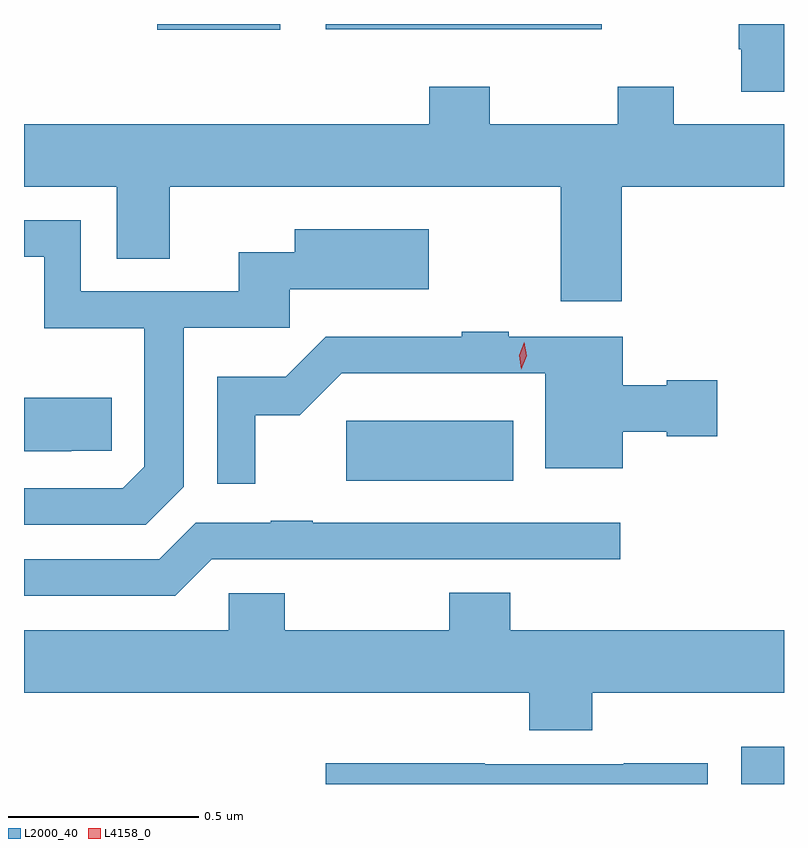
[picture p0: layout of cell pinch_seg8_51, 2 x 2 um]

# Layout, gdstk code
import gdstk
lib = gdstk.Library(unit=1e-6, precision=1e-09)
def R(c, l, rs):  # rectangles x0, y0, x1, y1
    for r in rs: c.add(gdstk.rectangle(r[:2], r[2:], *l))
def P(c, l, *ps):  # polygons
    for p in ps: c.add(gdstk.Polygon(p, *l))
L2000_40 = (2000, 40)
L4158_0 = (4158, 0)

pinch_seg8_51 = lib.new_cell('pinch_seg8_51')
R(pinch_seg8_51, L2000_40, [(871.313,1136.24,871.425,1136.338), (870.273,1137.038,870.712,1137.196), (869.775,1138.225,870.099,1138.24), (870.219,1138.226,870.946,1138.24)])
P(pinch_seg8_51, L2000_40, [(871.425,1138.24),(871.306,1138.24),(871.306,1138.174),(871.313,1138.174),(871.313,1138.062),(871.425,1138.062)],
  [(869.425,1137.812),(869.669,1137.812),(869.669,1137.622),(869.809,1137.622),(869.809,1137.812),(870.838,1137.812),(870.838,1137.51),(870.998,1137.51),(870.998,1137.812),(871.425,1137.812),(871.425,1137.976),(871.135,1137.976),(871.135,1138.075),(870.988,1138.075),(870.988,1137.976),(870.651,1137.976),(870.651,1138.075),(870.491,1138.075),(870.491,1137.976),(869.425,1137.976)],
  [(869.845,1137.022),(869.845,1137.441),(870.124,1137.441),(870.124,1137.542),(870.49,1137.542),(870.49,1137.7),(870.137,1137.7),(870.137,1137.64),(869.99,1137.64),(869.99,1137.537),(869.574,1137.537),(869.574,1137.723),(869.425,1137.723),(869.425,1137.628),(869.478,1137.628),(869.478,1137.44),(869.742,1137.44),(869.742,1137.075),(869.685,1137.018),(869.425,1137.018),(869.425,1136.922),(869.745,1136.922)],
  [(870.033,1137.211),(870.151,1137.211),(870.261,1137.321),(870.797,1137.321),(870.797,1137.071),(871,1137.071),(871,1137.167),(871.116,1137.167),(871.116,1137.155),(871.249,1137.155),(871.249,1137.302),(871.116,1137.302),(871.116,1137.289),(871,1137.289),(871,1137.417),(870.701,1137.417),(870.701,1137.43),(870.577,1137.43),(870.577,1137.417),(870.219,1137.417),(870.114,1137.312),(869.934,1137.312),(869.934,1137.03),(870.033,1137.03)],
  [(869.549,1137.117),(869.656,1137.117),(869.656,1137.256),(869.425,1137.256),(869.425,1137.116),(869.549,1137.116)],
  [(869.919,1136.832),(870.199,1136.832),(870.199,1136.831),(870.455,1136.831),(870.455,1136.832),(870.994,1136.832),(870.994,1136.928),(870.185,1136.928),(870.185,1136.933),(870.074,1136.933),(870.074,1136.928),(869.877,1136.928),(869.781,1136.832),(869.425,1136.832),(869.425,1136.736),(869.823,1136.736)],
  [(870.92,1136.48),(871.425,1136.48),(871.425,1136.644),(870.704,1136.644),(870.704,1136.743),(870.544,1136.743),(870.544,1136.644),(870.111,1136.644),(870.111,1136.742),(869.964,1136.742),(869.964,1136.644),(869.425,1136.644),(869.425,1136.48),(870.755,1136.48),(870.755,1136.381),(870.92,1136.381)],
  [(871.224,1136.294),(871.003,1136.294),(871.003,1136.292),(870.637,1136.292),(870.637,1136.294),(870.219,1136.294),(870.219,1136.24),(871.224,1136.24)])
P(pinch_seg8_51, L4158_0, [(870.734,1137.332),(870.734,1137.332),(870.728,1137.368),(870.741,1137.403),(870.741,1137.403),(870.741,1137.403),(870.748,1137.367),(870.734,1137.332)])

lib.write_gds('pinch_seg8_51.gds')
